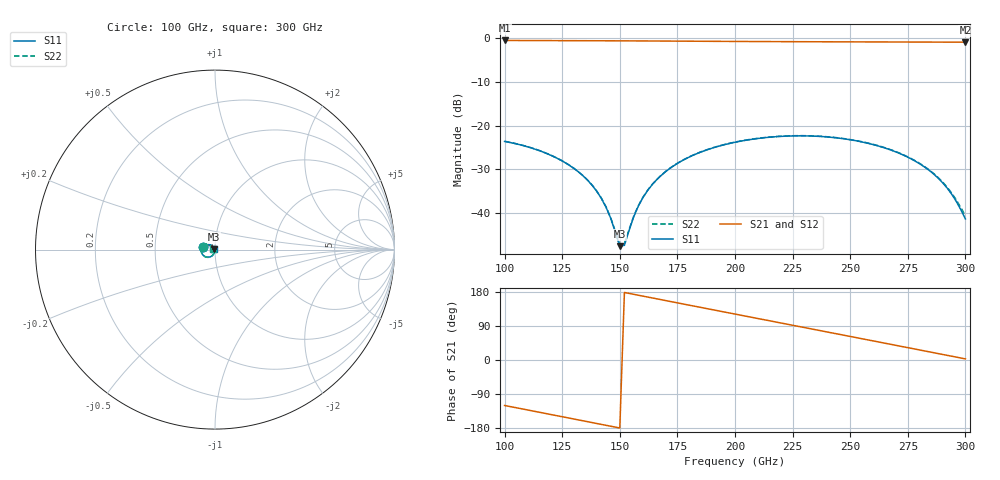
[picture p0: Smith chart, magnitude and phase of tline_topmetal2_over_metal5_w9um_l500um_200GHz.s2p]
#  GHZ S DB R 50
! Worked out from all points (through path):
!   101 points, 100 GHz to 300 GHz, reference 50 ohm
!   highest |S21| = -0.48 dB at 100 GHz (marker M1); lowest = -0.9 dB at 300 GHz (marker M2)
!   group delay of S21, straight-line fit = 3.29 ps
!   lowest |S11| = -47.6 dB at 150 GHz (marker M3), VSWR 1.01, Z = 49.6 + j0.0611 ohm
!   |S11| at or under -10 dB: start of sweep to end of sweep
!   |S22| runs from -47.1 to -22.3 dB; largest |S21 - S12| = 1.1e-14
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100  -23.58 168.4  -0.48 -120.0  -0.48 -120.0  -23.55 169.0
120  -26.74 144.6  -0.51 -143.8  -0.51 -143.8  -26.71 145.4
128  -29.01 136.0  -0.53 -153.3  -0.53 -153.3  -28.98 136.9
134  -31.43 130.6  -0.54 -160.4  -0.54 -160.4  -31.40 131.6
140  -34.99 127.4  -0.55 -167.5  -0.55 -167.5  -34.95 128.7
144  -38.60 129.2  -0.55 -172.3  -0.55 -172.3  -38.53 130.8
146  -41.10 133.6  -0.56 -174.7  -0.56 -174.7  -40.99 135.5
150  -47.55 171.5  -0.57 -179.5  -0.57 -179.5  -47.15 173.4
152  -47.35 -146.4  -0.57 178.2  -0.57 178.2  -46.95 -146.6
156  -40.87 -110.9  -0.58 173.4  -0.58 173.4  -40.75 -111.3
160  -36.46 -105.3  -0.59 168.6  -0.59 168.6  -36.39 -105.3
168  -31.34 -108.4  -0.61 159.1  -0.61 159.1  -31.30 -107.9
182  -26.70 -121.8  -0.65 142.5  -0.65 142.5  -26.66 -121.1
200  -23.78 -141.1  -0.70 121.2  -0.70 121.2  -23.74 -140.2
218  -22.49 -160.7  -0.74 99.9  -0.74 99.9  -22.45 -159.7
234  -22.37 -178.4  -0.77 81.1  -0.77 81.1  -22.32 -177.1
250  -23.20 164.1  -0.80 62.2  -0.80 62.2  -23.15 165.5
268  -25.62 145.2  -0.83 40.9  -0.83 40.9  -25.56 147.0
280  -28.65 134.3  -0.84 26.7  -0.84 26.7  -28.56 136.5
288  -31.89 129.8  -0.85 17.2  -0.85 17.2  -31.76 132.5
294  -35.62 131.1  -0.86 10.0  -0.86 10.0  -35.36 134.7
300  -41.32 150.5  -0.87 2.9  -0.87 2.9  -40.60 154.5
